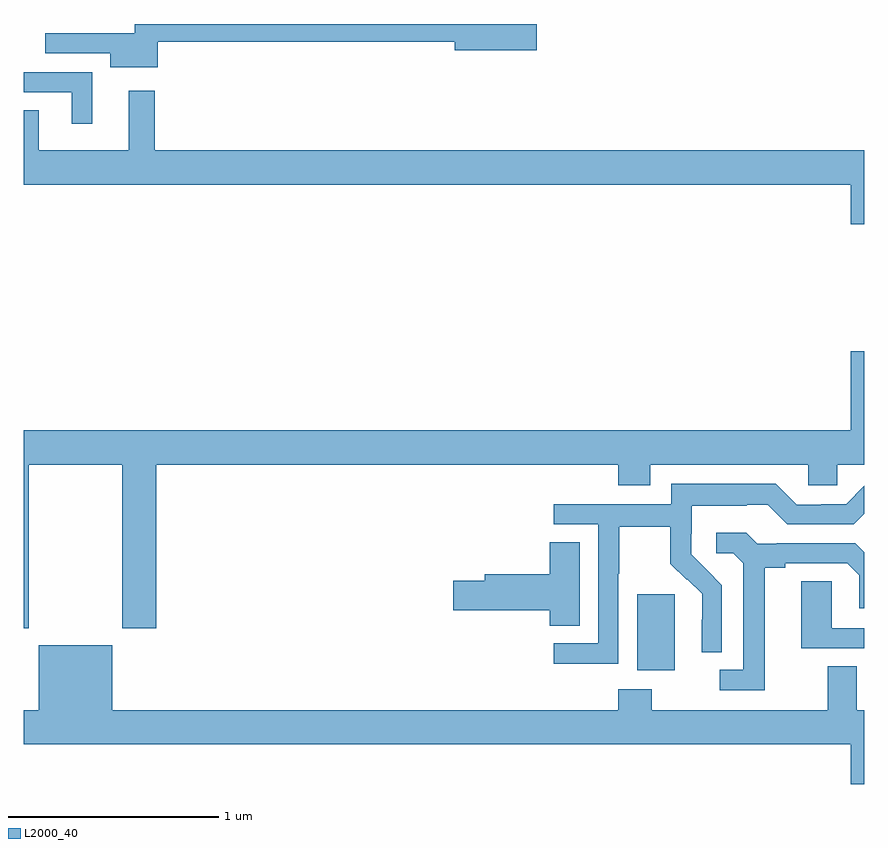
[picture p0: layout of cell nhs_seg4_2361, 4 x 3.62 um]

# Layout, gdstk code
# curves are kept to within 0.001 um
import gdstk
lib = gdstk.Library(unit=1e-6, precision=1e-09)
def R(c, l, rs):  # rectangles x0, y0, x1, y1
    for r in rs: c.add(gdstk.rectangle(r[:2], r[2:], *l))
def P(c, l, *ps):  # polygons
    for p in ps: c.add(gdstk.Polygon(p, *l))
L2000_40 = (2000, 40)

nhs_seg4_2361 = lib.new_cell('nhs_seg4_2361')
R(nhs_seg4_2361, L2000_40, [(235.919,811.826,236.098,812.187)])
P(nhs_seg4_2361, L2000_40, [(233.638,814.816),(235.052,814.816),(235.052,814.774),(235.441,814.774),(235.441,814.9),(233.528,814.9),(233.528,814.857),(233.103,814.857),(233.103,814.761),(233.411,814.761),(233.411,814.694),(233.638,814.694)],
  [(233.326,814.671),(233,814.671),(233,814.575),(233.228,814.575),(233.228,814.425),(233.326,814.425)],
  [(237,814.3),(233.623,814.3),(233.623,814.582),(233.501,814.582),(233.501,814.3),(233.071,814.3),(233.071,814.49),(233,814.49),(233,814.136),(236.936,814.136),(236.936,813.948),(237,813.948)],
  [(233.025,812.804),(233.47,812.804),(233.47,812.025),(233.63,812.025),(233.63,812.804),(235.829,812.804),(235.829,812.705),(235.981,812.705),(235.981,812.804),(236.733,812.804),(236.733,812.706),(236.871,812.706),(236.871,812.804),(237,812.804),(237,813.343),(236.936,813.343),(236.936,812.968),(233,812.968),(233,812.025),(233.025,812.025)],
  [(235.83,812.284),(235.833,812.284),(235.833,812.508),(236.077,812.508),(236.077,812.333),(236.154,812.256),(236.157,812.259),(236.228,812.189),(236.228,812.066),(236.226,812.066),(236.226,811.912),(236.322,811.912),(236.322,812.23),(236.176,812.378),(236.176,812.475),(236.178,812.475),(236.178,812.609),(236.441,812.609),(236.441,812.613),(236.541,812.613),(236.634,812.52),(236.949,812.52),(237,812.571),(237,812.703),(236.913,812.616),(236.795,812.616),(236.795,812.613),(236.679,812.613),(236.579,812.713),(236.082,812.713),(236.082,812.616),(235.521,812.616),(235.521,812.52),(235.734,812.52),(235.734,811.953),(235.521,811.953),(235.521,811.855),(235.83,811.855)],
  [(236.527,812.312),(236.623,812.312),(236.623,812.334),(236.918,812.334),(236.975,812.277),(236.975,812.121),(237,812.121),(237,812.386),(236.956,812.43),(236.584,812.43),(236.584,812.427),(236.49,812.427),(236.438,812.479),(236.295,812.479),(236.295,812.382),(236.376,812.382),(236.423,812.335),(236.423,811.827),(236.313,811.827),(236.313,811.731),(236.527,811.731)],
  [(235.645,812.435),(235.502,812.435),(235.502,812.282),(235.193,812.282),(235.193,812.252),(235.044,812.252),(235.044,812.11),(235.502,812.11),(235.502,812.038),(235.645,812.038)],
  [(237,812.025),(236.844,812.025),(236.844,812.249),(236.699,812.249),(236.699,811.929),(237,811.929)],
  [(237,811.636),(236.965,811.636),(236.965,811.844),(236.825,811.844),(236.825,811.636),(235.989,811.636),(235.989,811.735),(235.829,811.735),(235.829,811.636),(233.422,811.636),(233.422,811.945),(233.072,811.945),(233.072,811.636),(233,811.636),(233,811.472),(236.936,811.472),(236.936,811.284),(237,811.284)])

lib.write_gds('nhs_seg4_2361.gds')
